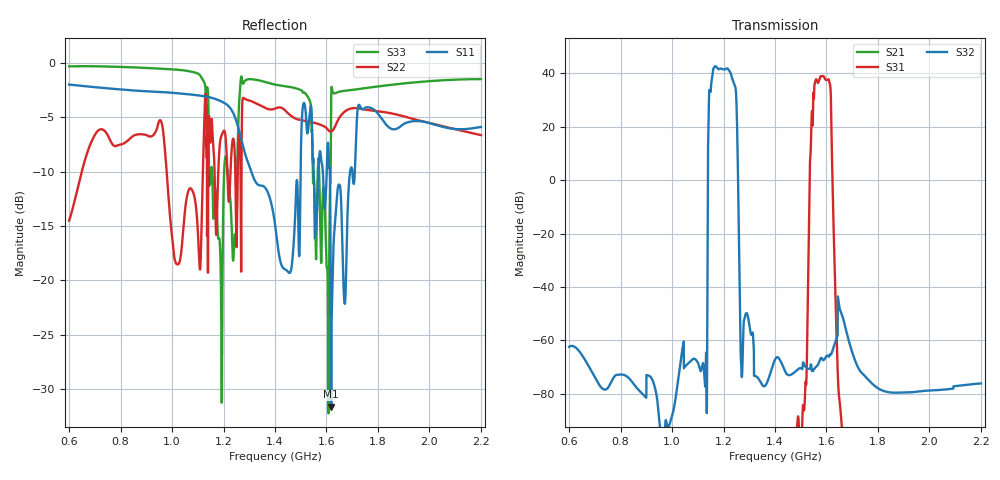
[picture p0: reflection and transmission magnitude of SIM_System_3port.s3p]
! Project 16: GNSS L1 + L2/L5 active antenna front end (RFMW-ANT)
! Generated by Scripts/simulate.py from Scripts/ds_data.py; format GHz / RI, Z0 = 50 ohm
! SIMULATED with scikit-rf (Scripts/simulate.py). Port 1 = L1 virtual RHCP input, port 2 =
! L2/L5 virtual RHCP input, port 3 = RF output. LNAs biased, 5 V.
# GHz S RI R 50.0
! Port[1] = P1_L1_RHCP
! Port[2] = P2_L2L5_RHCP
! Port[3] = P3_RF_OUT
!freq ReS11 ImS11 ReS12 ImS12 ReS13 ImS13
! ReS21 ImS21 ReS22 ImS22 ReS23 ImS23
! ReS31 ImS31 ReS32 ImS32 ReS33 ImS33
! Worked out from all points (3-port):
!   3201 points, 600 MHz to 2.2 GHz, reference 50 ohm
!   strongest paths, dB at 600 MHz, 1 GHz, 1.4 GHz, 1.8 GHz, 2.2 GHz:
!     S32: -62.4, -88.3, -67.2, -77.9, -76.1
!     S31: -128.5, -120.8, -116.4, -113.4, -95.1
!     S21: -, -, -, -, -
!   lowest |S11| = -31.6 dB at 1.619 GHz (marker M1), VSWR 1.05, Z = 52 + j1.76 ohm
!   |S11| at or under -10 dB: 1.308 GHz to 1.499 GHz (191.7 MHz wide, 13.7 % of centre); 1.55 GHz to 1.569 GHz (19.36 MHz wide, 1.24 % of centre); 1.613 GHz to 1.692 GHz (78.86 MHz wide, 4.77 % of centre)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
0.6  0.6687 0.4285  -7.81e-14 9.62e-14  -3.05e-13 -3.65e-13
     -7.81e-14 9.62e-14  -0.146 0.1185  -6.83e-10 -6.76e-10
     -9.4e-08 3.65e-07  -0.00012 0.00075  -0.025 0.9628
1.1625  0.1542 -0.6681  -2.88e-10 6.17e-11  -3.97e-13 4.88e-14
        -2.88e-10 6.17e-11  -0.0752 -0.371  -8.13e-05 0.00041
        1.1e-07 -5.08e-08  -14.65 -125.5  -0.2057 -0.00027
1.1775  0.1441 -0.6602  1.54e-10 9.05e-11  -3.9e-13 1.28e-13
        1.54e-10 9.05e-11  0.1337 -0.2277  8.42e-05 -0.000413
        9.58e-08 -7.37e-08  16.85 122.7  -0.0803 0.1431
1.187  0.1407 -0.6535  1.17e-10 -6.21e-11  -3.43e-13 1.06e-13
       1.17e-10 -6.21e-11  0.1271 -0.4175  -0.0004 -0.00014
       8.22e-08 -6.31e-08  122.5 -2.03  0.0839 0.1085
1.1975  0.1387 -0.6444  -6.6e-12 -9.44e-11  -4.03e-13 9.22e-14
        -6.6e-12 -9.44e-11  0.036 -0.4775  -0.000139 0.000398
        9.7e-08 -6.6e-08  -4.282 -119.6  -0.1379 0.0881
1.217  0.1407 -0.6208  -3.3e-11 3.29e-11  -1.08e-13 1.3e-13
       -3.3e-11 3.29e-11  -0.1002 -0.2456  0.000194 -0.000399
       1.32e-08 -4.45e-08  -5.602 121.6  0.1716 0.2429
1.2335  0.1681 -0.5761  1.48e-11 1.14e-12  -2.99e-14 2.69e-14
        1.48e-11 1.14e-12  -0.00885 -0.4245  -0.000154 0.000262
        4.17e-09 -9.86e-09  7.822 -80.41  0.1506 0.0134
1.4  0.1542 -0.0954  3.56e-13 3.18e-13  3.56e-14 7.61e-12
     3.56e-13 3.18e-13  -0.2892 -0.5432  1.48e-09 -1.64e-09
     -1.01e-06 -1.12e-06  -4.13e-06 0.000438  0.1965 -0.7696
1.6185  0.0201 0.0169  2.38e-08 3.41e-09  -6.04e-05 9.23e-05
        2.38e-08 3.41e-09  -0.386 -0.291  3.91e-09 -1.09e-10
        -6.622 -14.01  -0.000274 0.000476  0.65 0.2432
2.2  -0.1527 0.4833  1.48e-12 3.25e-13  2.74e-10 -3.24e-11
     1.48e-12 3.25e-13  -0.1833 0.4276  2.44e-09 -2.14e-10
     3.96e-06 1.72e-05  3.06e-05 0.000154  -0.4405 0.7172
